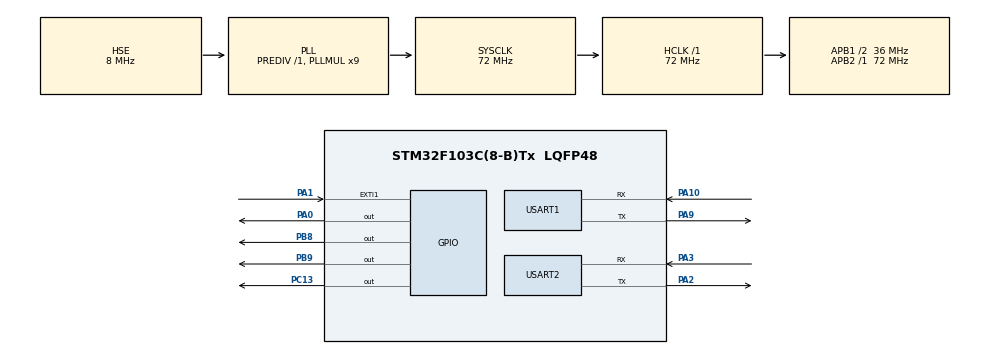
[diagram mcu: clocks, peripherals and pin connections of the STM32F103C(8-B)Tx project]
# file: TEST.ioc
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Mcu.Family=STM32F1
Mcu.Name=STM32F103C(8-B)Tx
Mcu.Package=LQFP48
NVIC.EXTI1_IRQn=true\:10\:0\:true\:false\:true\:true\:true\:true
NVIC.PriorityGroup=NVIC_PRIORITYGROUP_4
NVIC.USART2_IRQn=true\:0\:0\:false\:false\:true\:true\:true\:true
PA0-WKUP.GPIO_Speed=GPIO_SPEED_FREQ_HIGH
PA0-WKUP.PinState=GPIO_PIN_SET
PA0-WKUP.Signal=GPIO_Output
PA1.GPIO_ModeDefaultEXTI=GPIO_MODE_IT_FALLING
PA1.GPIO_PuPd=GPIO_PULLUP
PA1.Signal=GPXTI1
PA10.Mode=Asynchronous
PA10.Signal=USART1_RX
PA13.Mode=Serial_Wire
PA13.Signal=SYS_JTMS-SWDIO
PA14.Mode=Serial_Wire
PA14.Signal=SYS_JTCK-SWCLK
PA2.Mode=Asynchronous
PA2.Signal=USART2_TX
PA3.Mode=Asynchronous
PA3.Signal=USART2_RX
PA9.Mode=Asynchronous
PA9.Signal=USART1_TX
PB8.GPIO_ModeDefaultOutputPP=GPIO_MODE_OUTPUT_OD
PB8.GPIO_PuPd=GPIO_NOPULL
PB8.GPIO_Speed=GPIO_SPEED_FREQ_HIGH
PB8.PinState=GPIO_PIN_SET
PB8.Signal=GPIO_Output
PB9.GPIO_ModeDefaultOutputPP=GPIO_MODE_OUTPUT_OD
PB9.GPIO_PuPd=GPIO_NOPULL
PB9.GPIO_Speed=GPIO_SPEED_FREQ_HIGH
PB9.PinState=GPIO_PIN_SET
PB9.Signal=GPIO_Output
PC13-TAMPER-RTC.Signal=GPIO_Output
PD0-OSC_IN.Mode=HSE-External-Oscillator
PD0-OSC_IN.Signal=RCC_OSC_IN
PD1-OSC_OUT.Mode=HSE-External-Oscillator
PD1-OSC_OUT.Signal=RCC_OSC_OUT
ProjectManager.HeapSize=0x200
ProjectManager.StackSize=0x400
ProjectManager.TargetToolchain=CMake
RCC.AHBFreq_Value=72000000
RCC.APB1CLKDivider=RCC_HCLK_DIV2
RCC.APB1Freq_Value=36000000
RCC.APB1TimFreq_Value=72000000
RCC.APB2Freq_Value=72000000
RCC.APB2TimFreq_Value=72000000
RCC.HCLKFreq_Value=72000000
RCC.PLLMUL=RCC_PLL_MUL9
RCC.PLLSourceVirtual=RCC_PLLSOURCE_HSE
RCC.SYSCLKFreq_VALUE=72000000
RCC.SYSCLKSource=RCC_SYSCLKSOURCE_PLLCLK
RCC.USBFreq_Value=72000000
TIM4.Prescaler=72-1
USART1.VirtualMode=VM_ASYNC
USART2.VirtualMode=VM_ASYNC
VP_TIM4_VS_ClockSourceINT.Mode=Internal
board=custom

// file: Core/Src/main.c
/* USER CODE BEGIN Header */
/**
  ******************************************************************************
  * @file           : main.c
  * @brief          : Main program body
  ******************************************************************************
  * @attention
  *
  * Copyright (c) 2026 STMicroelectronics.
  * All rights reserved.
  *
  * This software is licensed under terms that can be found in the LICENSE file
  * in the root directory of this software component.
  * If no LICENSE file comes with this software, it is provided AS-IS.
  *
  ******************************************************************************
  */
/* USER CODE END Header */
#include "main.h"
#include "tim.h"
#include "usart.h"
#include "gpio.h"

/* USER CODE BEGIN Includes */
#include "Led.h"
#include "Key.h"
#include "DHT11.h"
#include "delay.h"
#include "esp_at.h"
#include "onenet.h"
#include "OLED.h"
/* USER CODE END Includes */

/* USER CODE BEGIN PV */
u8 temp,humi;
/* USER CODE END PV */

void SystemClock_Config(void);

int main(void)
{

  /* MCU Configuration--------------------------------------------------------*/

  /* Reset of all peripherals, Initializes the Flash interface and the Systick. */
  HAL_Init();

  /* Configure the system clock */
  SystemClock_Config();

  /* Initialize all configured peripherals */
  MX_GPIO_Init();
  MX_USART1_UART_Init();
  MX_USART2_UART_Init();
  MX_TIM4_Init();
  /* USER CODE BEGIN 2 */
  Led_Init();
  Key_Init();
  OLED_Init();

  while(DHT11_Init())
	{
		printf("DHT11 Error \r\n");
	  delay_ms(500);
	}

  if(ESP_AT_Init())
  {
    printf("ESP32-C3 AT init failed!\r\n");
    Error_Handler();
  }

  if(OneNet_DevLink())
  {
    printf("OneNET MQTT connect failed!\r\n");
    Error_Handler();
  }

  if(OneNET_Subscribe())
  {
    printf("OneNET property/set subscribe failed!\r\n");
    Error_Handler();
  }
  printf("OneNET MQTT connected!\r\n");
  /* USER CODE END 2 */

  /* Infinite loop */
  /* USER CODE BEGIN WHILE */
  uint32_t last_publish_tick = 0;
  while (1)
  {

    OLED_ShowString(1, 1, "Temp:");
    OLED_ShowNum(1, 6, temp, 2);
    OLED_ShowString(1, 9, "Humi:");
    OLED_ShowNum(1, 14, humi, 2);
    if(Led_Status)
    {
      OLED_ShowString(2, 1, "LED:ON ");
    }
    else
    {
      OLED_ShowString(2, 1, "LED:OFF");
    }

    if((uint32_t)(HAL_GetTick() - last_publish_tick) >= 5000U)
    {
      DHT11_Read_Data(&temp, &humi);

      if(OneNet_SendData() == 0)
      {
        printf("OneNET property upload OK\r\n");
      }
      else
      {
        printf("OneNET publish failed!\r\n");

        ESP_AT_SendCmd("AT+CIPCLOSE\r\n", "OK");
        if(OneNet_DevLink() == 0)
        {
          if(OneNET_Subscribe())
          {
            printf("OneNET re-subscribe failed!\r\n");
          }
          printf("OneNET reconnected!\r\n");
        }
      }

      last_publish_tick = HAL_GetTick();
    }

    unsigned char *recv_data = ESP_AT_GetIPD(20);
    if(recv_data != NULL)
    {
      OneNet_RevPro(recv_data);
    }

    HAL_Delay(10);
    /* USER CODE END WHILE */

  }
}

void SystemClock_Config(void)
{
  RCC_OscInitTypeDef RCC_OscInitStruct = {0};
  RCC_ClkInitTypeDef RCC_ClkInitStruct = {0};

  /** Initializes the RCC Oscillators according to the specified parameters
  * in the RCC_OscInitTypeDef structure.
  */
  RCC_OscInitStruct.OscillatorType = RCC_OSCILLATORTYPE_HSE;
  RCC_OscInitStruct.HSEState = RCC_HSE_ON;
  RCC_OscInitStruct.HSEPredivValue = RCC_HSE_PREDIV_DIV1;
  RCC_OscInitStruct.HSIState = RCC_HSI_ON;
  RCC_OscInitStruct.PLL.PLLState = RCC_PLL_ON;
  RCC_OscInitStruct.PLL.PLLSource = RCC_PLLSOURCE_HSE;
  RCC_OscInitStruct.PLL.PLLMUL = RCC_PLL_MUL9;
  if (HAL_RCC_OscConfig(&RCC_OscInitStruct) != HAL_OK)
  {
    Error_Handler();
  }

  /** Initializes the CPU, AHB and APB buses clocks
  */
  RCC_ClkInitStruct.ClockType = RCC_CLOCKTYPE_HCLK|RCC_CLOCKTYPE_SYSCLK
                              |RCC_CLOCKTYPE_PCLK1|RCC_CLOCKTYPE_PCLK2;
  RCC_ClkInitStruct.SYSCLKSource = RCC_SYSCLKSOURCE_PLLCLK;
  RCC_ClkInitStruct.AHBCLKDivider = RCC_SYSCLK_DIV1;
  RCC_ClkInitStruct.APB1CLKDivider = RCC_HCLK_DIV2;
  RCC_ClkInitStruct.APB2CLKDivider = RCC_HCLK_DIV1;

  if (HAL_RCC_ClockConfig(&RCC_ClkInitStruct, FLASH_LATENCY_2) != HAL_OK)
  {
    Error_Handler();
  }
}

void Error_Handler(void)
{
  __disable_irq();
  while (1)
  {
  }
}
